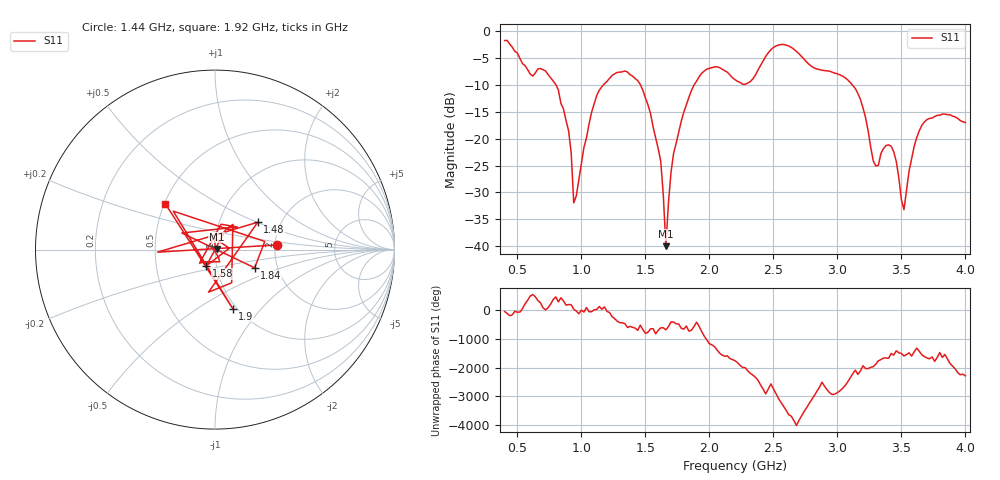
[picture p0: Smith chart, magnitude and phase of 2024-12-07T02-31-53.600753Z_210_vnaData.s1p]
!Created with skrf (http://scikit-rf.org).
# Hz S RI R 50.0
!freq ReS11 ImS11
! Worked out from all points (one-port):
!   181 points, 400 MHz to 4 GHz, reference 50 ohm
!   lowest |S11| = -40.0 dB at 1.66 GHz (marker M1), VSWR 1.02, Z = 50.9 + j0.367 ohm
!   |S11| at or under -10 dB: 801.5 MHz to 1.172 GHz (370.2 MHz wide, 37.5 % of centre); 1.462 GHz to 1.88 GHz (418.2 MHz wide, 25 % of centre); 3.117 GHz to end of sweep
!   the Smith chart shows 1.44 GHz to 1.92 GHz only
!   S11 on the Smith chart (normalised r, x): 1.44 GHz: 2.06, +0.12; 1.48 GHz: 1.52, +0.51; 1.58 GHz: 0.90, -0.16; 1.84 GHz: 1.52, -0.33; 1.9 GHz: 0.96, -0.72; 1.92 GHz: 0.51, +0.30
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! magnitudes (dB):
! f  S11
! 400 MHz  -1.7
! 620 MHz  -8.3
! 720 MHz  -7.4
! 860 MHz  -14.5
! 920 MHz  -22.6
! 940 MHz  -32.0
! 1.12 GHz  -11.9
! 1.3 GHz  -7.6
! 1.44 GHz  -9.2
! 1.48 GHz  -11.0
! 1.58 GHz  -19.9
! 1.62 GHz  -24.2
! 1.66 GHz  -40.0
! 1.7 GHz  -26.3
! 1.76 GHz  -18.8
! 1.84 GHz  -12.3
! 1.9 GHz  -9.3
! 1.92 GHz  -8.5
! 2.2 GHz  -9.0
! 2.66 GHz  -3.3
! 3.1 GHz  -9.5
! 3.18 GHz  -12.7
! 3.3 GHz  -25.1
! 3.44 GHz  -22.4
! 3.52 GHz  -33.2
! 3.56 GHz  -26.0
! 3.7 GHz  -16.4
! 4 GHz  -17.0
